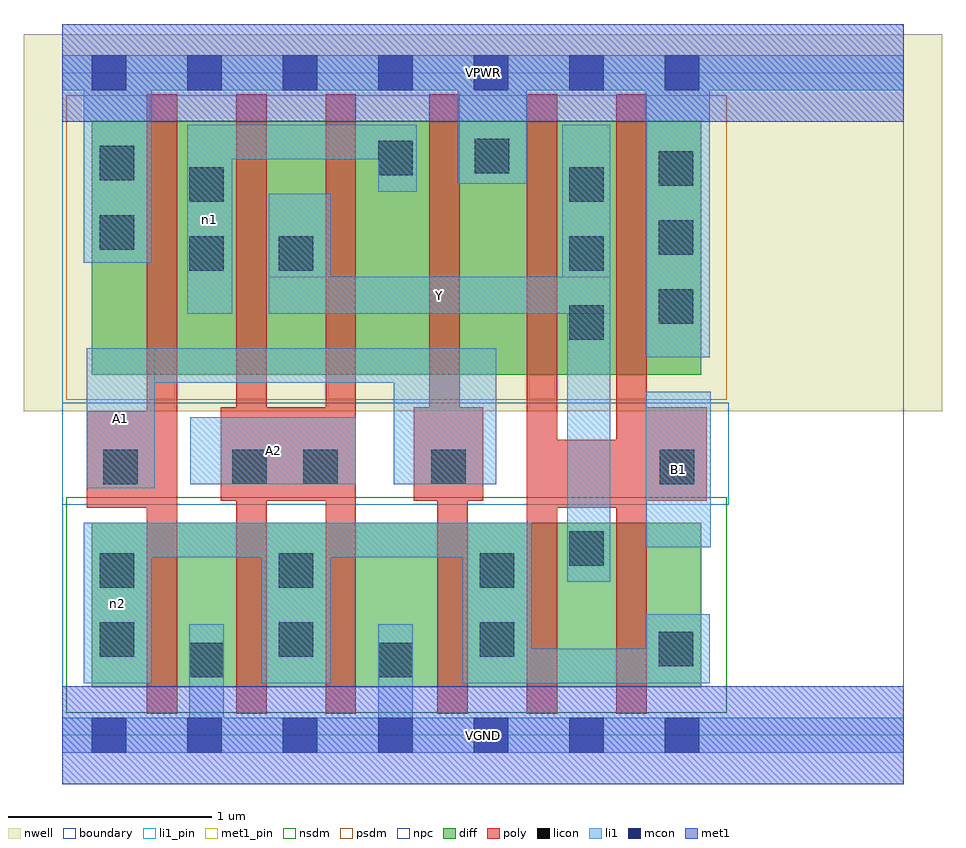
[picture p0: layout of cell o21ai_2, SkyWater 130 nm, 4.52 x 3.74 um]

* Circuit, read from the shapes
.subckt o21ai_2 A1 A2 B1 VGND VPWR Y n1 n2
XM1 VGND A1 n2 VSUBS sky130_fd_pr__nfet_01v8 w=0.81 l=0.15 m=2
XM2 n2 A2 VGND VSUBS sky130_fd_pr__nfet_01v8 w=0.81 l=0.15 m=2
XM3 Y B1 n2 VSUBS sky130_fd_pr__nfet_01v8 w=0.81 l=0.15 m=2
XM4 n1 A1 VPWR n3 sky130_fd_pr__pfet_01v8 w=1.25 l=0.15 m=2
XM5 Y A2 n1 n3 sky130_fd_pr__pfet_01v8 w=1.25 l=0.15 m=2
XM6 Y B1 VPWR n3 sky130_fd_pr__pfet_01v8 w=1.25 l=0.15 m=2
.ends

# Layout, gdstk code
import gdstk
lib = gdstk.Library(unit=1e-6, precision=1e-09)
def R(c, l, rs):  # rectangles x0, y0, x1, y1
    for r in rs: c.add(gdstk.rectangle(r[:2], r[2:], *l))
def A(c, l, x, y, w, h, nx, ny, dx, dy):  # array of equal rectangles
    R(c, l, [(x+i*dx, y+j*dy, x+i*dx+w, y+j*dy+h) for i in range(nx) for j in range(ny)])
nwell = (64, 20)
diff = (65, 20)
poly = (66, 20)
licon = (66, 44)
li1_pin = (67, 16)
li1 = (67, 20)
mcon = (67, 44)
met1_pin = (68, 16)
met1 = (68, 20)
nsdm = (93, 44)
psdm = (94, 20)
npc = (95, 20)
boundary = (235, 4)

o21ai_2 = lib.new_cell('o21ai_2')
R(o21ai_2, nwell, [(-0.19,1.595,4.33,3.45), (0,1.595,4.14,3.45)])
R(o21ai_2, diff, [(0.145,0.235,3.145,1.045), (0.145,1.775,3.145,3.025)])
A(o21ai_2, poly, 0.415, 0.105, 0.15, 3.05, 3, 1, 0.44, 0)
R(o21ai_2, poly, [(1.845,0.105,1.995,1.615), (2.285,0.105,2.435,3.155), (2.725,0.105,2.875,3.155), (0.12,1.12,0.565,1.595), (2.285,1.12,2.875,1.455), (0.78,1.155,1.445,1.615), (1.73,1.155,2.07,1.615), (1.805,1.155,1.955,3.155), (2.725,1.155,3.17,1.615)])
A(o21ai_2, licon, 2.495, 1.945, 0.17, 0.17, 1, 3, 0, 0.34)
A(o21ai_2, licon, 2.935, 2.025, 0.17, 0.17, 1, 3, 0, 0.34)
R(o21ai_2, licon, [(0.625,0.285,0.795,0.455), (1.555,0.285,1.725,0.455), (2.935,0.34,3.105,0.51), (0.185,0.385,0.355,0.555), (1.065,0.385,1.235,0.555), (2.055,0.385,2.225,0.555), (0.185,0.725,0.355,0.895), (1.065,0.725,1.235,0.895), (2.055,0.725,2.225,0.895), (2.495,0.835,2.665,1.005), (0.2,1.235,0.37,1.405), (0.835,1.235,1.005,1.405), (1.185,1.235,1.355,1.405), (1.815,1.235,1.985,1.405), (2.94,1.235,3.11,1.405), (0.625,2.285,0.795,2.455), (1.065,2.285,1.235,2.455), (0.185,2.39,0.355,2.56), (0.625,2.625,0.795,2.795), (0.185,2.73,0.355,2.9), (1.555,2.755,1.725,2.925), (2.03,2.765,2.2,2.935)])
R(o21ai_2, li1_pin, [(2.87,0.925,3.19,1.69), (0.12,1.215,0.455,1.905), (0.63,1.235,1.445,1.565), (1.015,2.075,2.695,2.255)])
R(o21ai_2, li1, [(0,-0.085,4.14,0.085), (0.625,-0.085,0.795,0.545), (1.555,-0.085,1.725,0.545), (0.105,0.255,0.44,1.045), (0.98,0.255,1.32,1.045), (1.97,0.255,2.31,1.045), (1.97,0.255,3.185,0.425), (2.87,0.255,3.185,0.595), (2.485,0.755,2.695,3.005), (0.105,0.875,2.31,1.045), (2.87,0.925,3.19,1.69), (0.12,1.215,0.455,1.905), (0.63,1.235,1.445,1.565), (1.63,1.235,2.135,1.905), (0.12,1.735,2.135,1.905), (2.87,1.86,3.185,3.345), (0.615,2.075,0.835,3.005), (1.015,2.075,2.695,2.255), (1.015,2.075,1.32,2.665), (2.46,2.075,2.695,3.005), (0.105,2.325,0.44,3.345), (1.555,2.675,1.745,3.005), (1.945,2.715,2.285,3.345), (0.615,2.835,1.745,3.005), (0,3.175,4.14,3.345)])
A(o21ai_2, mcon, 0.145, -0.085, 0.17, 0.17, 7, 2, 0.47, 3.26)
R(o21ai_2, met1_pin, [(0,-0.24,4.14,0.24), (0,3.02,4.14,3.5)])
R(o21ai_2, met1, [(0,-0.24,4.14,0.24), (0,3.02,4.14,3.5)])
R(o21ai_2, nsdm, [(0.02,0.11,3.27,1.17)])
R(o21ai_2, psdm, [(0.02,1.65,3.27,3.15)])
R(o21ai_2, npc, [(0,1.135,3.28,1.635)])
R(o21ai_2, boundary, [(0,0,4.14,3.26)])
o21ai_2.add(gdstk.Label('A1', (0.287,1.56), layer=67, texttype=5))
o21ai_2.add(gdstk.Label('A2', (1.037,1.4), layer=67, texttype=5))
o21ai_2.add(gdstk.Label('B1', (3.03,1.307), layer=67, texttype=5))
o21ai_2.add(gdstk.Label('Y', (1.855,2.165), layer=67, texttype=5))
o21ai_2.add(gdstk.Label('n2', (0.272,0.65), layer=67, texttype=5))
o21ai_2.add(gdstk.Label('n1', (0.725,2.54), layer=67, texttype=5))
o21ai_2.add(gdstk.Label('VPWR', (2.07,3.26), layer=68, texttype=5))
o21ai_2.add(gdstk.Label('VGND', (2.07,0), layer=68, texttype=5))
o21ai_2.add(gdstk.Label('A1', (0.287,1.56), layer=67, texttype=16))
o21ai_2.add(gdstk.Label('A2', (1.037,1.4), layer=67, texttype=16))
o21ai_2.add(gdstk.Label('B1', (3.03,1.307), layer=67, texttype=16))
o21ai_2.add(gdstk.Label('Y', (1.855,2.165), layer=67, texttype=16))
o21ai_2.add(gdstk.Label('VPWR', (2.07,3.26), layer=68, texttype=16))
o21ai_2.add(gdstk.Label('VGND', (2.07,0), layer=68, texttype=16))

lib.write_gds('o21ai_2.gds')
